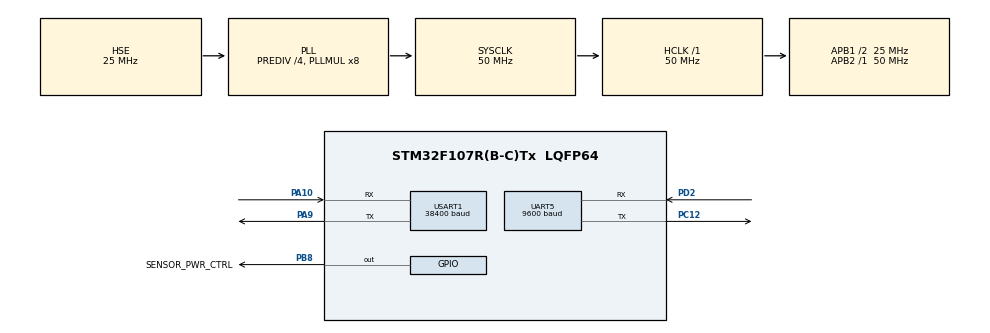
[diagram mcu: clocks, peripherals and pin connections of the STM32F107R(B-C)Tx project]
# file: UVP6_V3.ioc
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FREERTOS.Tasks01=defaultTask,0,512,StartDefaultTask,Default,NULL,Dynamic,NULL,NULL;uart_tx_t,0,512,uart_tx_f,Default,NULL,Dynamic,NULL,NULL
FREERTOS.configTOTAL_HEAP_SIZE=35000
FREERTOS.configUSE_NEWLIB_REENTRANT=0
Mcu.Family=STM32F1
Mcu.Name=STM32F107R(B-C)Tx
Mcu.Package=LQFP64
NVIC.PriorityGroup=NVIC_PRIORITYGROUP_4
NVIC.TIM1_UP_IRQn=true\:0\:0\:false\:false\:true\:false\:false\:true\:true
NVIC.TimeBase=TIM1_UP_IRQn
NVIC.TimeBaseIP=TIM1
NVIC.UART5_IRQn=true\:5\:0\:false\:false\:true\:true\:true\:true\:true
NVIC.USART1_IRQn=true\:5\:0\:false\:false\:true\:true\:true\:true\:true
PA10.Mode=Asynchronous
PA10.Signal=USART1_RX
PA9.Mode=Asynchronous
PA9.Signal=USART1_TX
PB8.GPIO_Label=SENSOR_PWR_CTRL
PB8.Signal=GPIO_Output
PC12.Mode=Asynchronous
PC12.Signal=UART5_TX
PD0-OSC_IN.Mode=HSE-External-Oscillator
PD0-OSC_IN.Signal=RCC_OSC_IN
PD1-OSC_OUT.Mode=HSE-External-Oscillator
PD1-OSC_OUT.Signal=RCC_OSC_OUT
PD2.Mode=Asynchronous
PD2.Signal=UART5_RX
ProjectManager.HeapSize=0x200
ProjectManager.StackSize=0x400
ProjectManager.TargetToolchain=STM32CubeIDE
RCC.AHBFreq_Value=50000000
RCC.APB1CLKDivider=RCC_HCLK_DIV2
RCC.APB1Freq_Value=25000000
RCC.APB1TimFreq_Value=50000000
RCC.APB2Freq_Value=50000000
RCC.APB2TimFreq_Value=50000000
RCC.HCLKFreq_Value=50000000
RCC.HSEDivPLL=RCC_HSE_PREDIV_DIV4
RCC.HSE_VALUE=25000000
RCC.PLLMUL=RCC_PLL_MUL8
RCC.PLLSourceVirtual=RCC_PLLSOURCE_HSE
RCC.SYSCLKFreq_VALUE=50000000
RCC.SYSCLKSource=RCC_SYSCLKSOURCE_PLLCLK
RCC.USBFreq_Value=33333333.333333332
UART5.BaudRate=9600
UART5.VirtualMode=Asynchronous
USART1.BaudRate=38400
USART1.VirtualMode=VM_ASYNC
VP_FREERTOS_VS_CMSIS_V1.Mode=CMSIS_V1
VP_SYS_VS_ND.Mode=No_Debug
VP_SYS_VS_tim1.Mode=TIM1
board=custom

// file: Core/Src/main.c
/* USER CODE BEGIN Header */
/**
  ******************************************************************************
  * @file           : main.c
  * @brief          : Main program body
  ******************************************************************************
  * @attention
  *
  * <h2><center>&copy; Copyright (c) 2021 STMicroelectronics.
  * All rights reserved.</center></h2>
  *
  * This software component is licensed by ST under Ultimate Liberty license
  * SLA0044, the "License"; You may not use this file except in compliance with
  * the License. You may obtain a copy of the License at:
  *                             www.st.com/SLA0044
  *
  ******************************************************************************
  */
/* USER CODE END Header */
#include "main.h"
#include "cmsis_os.h"

/* USER CODE BEGIN Includes */
#include "slocum_g3.h"
#include "UVP6.h"
#include "string.h"
#include "mcu_flash.h"
#include "stdio.h"

/* USER CODE END Includes */

/* USER CODE BEGIN PD */
#define  UVP6_UART               huart1
#define  GLIDER_UART             huart5
//#define  DEBUG

#define  UVP_DEPTH_HL_LEVEL      15.0

#define  BLOC_STARTED                      0
#define  BLOC_FINISHED                     1
/* USER CODE END PD */

UART_HandleTypeDef huart5;
UART_HandleTypeDef huart1;

osThreadId defaultTaskHandle;
osThreadId uart_tx_tHandle;
/* USER CODE BEGIN PV */

uvp6 uvp6_sensor1;
slocum glider1;
mcu_flash data_flash;

uint32_t     dive_counter;
uint32_t     lpm_buffer_num_of_msgs=0;
lpm_data_str lpm_messages_buffer;

float   lpm_bloc_depth_start=0.0;
float   lpm_bloc_depth_size=0.0;

char filename[30];
char file_data[500];

memory_region_pointer ptr1;
memory_region_pointer ptr2;

/* USER CODE END PV */

void SystemClock_Config(void);
static void MX_GPIO_Init(void);
static void MX_UART5_Init(void);
static void MX_USART1_UART_Init(void);
void StartDefaultTask(void const * argument);
void uart_tx_f(void const * argument);

/* USER CODE BEGIN PFP */
void lpm_sum_messages();
void lpm_aggregate_messages();
void lpm_aggregate_and_send();

/* USER CODE END PFP */

int main(void)
{

  /* MCU Configuration--------------------------------------------------------*/

  /* Reset of all peripherals, Initializes the Flash interface and the Systick. */
  HAL_Init();

  /* Configure the system clock */
  SystemClock_Config();

  /* Initialize all configured peripherals */
  MX_GPIO_Init();
  MX_UART5_Init();
  MX_USART1_UART_Init();
  /* USER CODE BEGIN 2 */
  uvp6_init(&uvp6_sensor1);
  HAL_UART_Receive_IT(&UVP6_UART,&(uvp6_sensor1.media_rx_byte),1);

  slocum_init(&glider1);
  HAL_UART_Receive_IT(&GLIDER_UART,&(glider1.media_rx_byte),1);

  //mcu_flash_init(&data_flash,82);

  /* USER CODE END 2 */

  /* Create the thread(s) */
  /* definition and creation of defaultTask */
  osThreadDef(defaultTask, StartDefaultTask, osPriorityNormal, 0, 512);
  defaultTaskHandle = osThreadCreate(osThread(defaultTask), NULL);

  /* definition and creation of uart_tx_t */
  osThreadDef(uart_tx_t, uart_tx_f, osPriorityNormal, 0, 512);
  uart_tx_tHandle = osThreadCreate(osThread(uart_tx_t), NULL);

  /* Start scheduler */
  osKernelStart();

  /* We should never get here as control is now taken by the scheduler */
  /* Infinite loop */
  while (1)
  {

  }
}

void SystemClock_Config(void)
{
  RCC_OscInitTypeDef RCC_OscInitStruct = {0};
  RCC_ClkInitTypeDef RCC_ClkInitStruct = {0};

  /** Initializes the RCC Oscillators according to the specified parameters
  * in the RCC_OscInitTypeDef structure.
  */
  RCC_OscInitStruct.OscillatorType = RCC_OSCILLATORTYPE_HSE;
  RCC_OscInitStruct.HSEState = RCC_HSE_ON;
  RCC_OscInitStruct.HSEPredivValue = RCC_HSE_PREDIV_DIV4;
  RCC_OscInitStruct.HSIState = RCC_HSI_ON;
  RCC_OscInitStruct.Prediv1Source = RCC_PREDIV1_SOURCE_HSE;
  RCC_OscInitStruct.PLL.PLLState = RCC_PLL_ON;
  RCC_OscInitStruct.PLL.PLLSource = RCC_PLLSOURCE_HSE;
  RCC_OscInitStruct.PLL.PLLMUL = RCC_PLL_MUL8;
  RCC_OscInitStruct.PLL2.PLL2State = RCC_PLL_NONE;
  if (HAL_RCC_OscConfig(&RCC_OscInitStruct) != HAL_OK)
  {
    Error_Handler();
  }

  /** Initializes the CPU, AHB and APB buses clocks
  */
  RCC_ClkInitStruct.ClockType = RCC_CLOCKTYPE_HCLK|RCC_CLOCKTYPE_SYSCLK
                              |RCC_CLOCKTYPE_PCLK1|RCC_CLOCKTYPE_PCLK2;
  RCC_ClkInitStruct.SYSCLKSource = RCC_SYSCLKSOURCE_PLLCLK;
  RCC_ClkInitStruct.AHBCLKDivider = RCC_SYSCLK_DIV1;
  RCC_ClkInitStruct.APB1CLKDivider = RCC_HCLK_DIV2;
  RCC_ClkInitStruct.APB2CLKDivider = RCC_HCLK_DIV1;

  if (HAL_RCC_ClockConfig(&RCC_ClkInitStruct, FLASH_LATENCY_2) != HAL_OK)
  {
    Error_Handler();
  }

  /** Configure the Systick interrupt time
  */
  __HAL_RCC_PLLI2S_ENABLE();
}

static void MX_UART5_Init(void)
{

  huart5.Instance = UART5;
  huart5.Init.BaudRate = 9600;
  huart5.Init.WordLength = UART_WORDLENGTH_8B;
  huart5.Init.StopBits = UART_STOPBITS_1;
  huart5.Init.Parity = UART_PARITY_NONE;
  huart5.Init.Mode = UART_MODE_TX_RX;
  huart5.Init.HwFlowCtl = UART_HWCONTROL_NONE;
  huart5.Init.OverSampling = UART_OVERSAMPLING_16;
  if (HAL_UART_Init(&huart5) != HAL_OK)
  {
    Error_Handler();
  }

}

static void MX_USART1_UART_Init(void)
{

  huart1.Instance = USART1;
  huart1.Init.BaudRate = 38400;
  huart1.Init.WordLength = UART_WORDLENGTH_8B;
  huart1.Init.StopBits = UART_STOPBITS_1;
  huart1.Init.Parity = UART_PARITY_NONE;
  huart1.Init.Mode = UART_MODE_TX_RX;
  huart1.Init.HwFlowCtl = UART_HWCONTROL_NONE;
  huart1.Init.OverSampling = UART_OVERSAMPLING_16;
  if (HAL_UART_Init(&huart1) != HAL_OK)
  {
    Error_Handler();
  }

}

static void MX_GPIO_Init(void)
{
  GPIO_InitTypeDef GPIO_InitStruct = {0};

  /* GPIO Ports Clock Enable */
  __HAL_RCC_GPIOD_CLK_ENABLE();
  __HAL_RCC_GPIOA_CLK_ENABLE();
  __HAL_RCC_GPIOC_CLK_ENABLE();
  __HAL_RCC_GPIOB_CLK_ENABLE();

  /*Configure GPIO pin Output Level */
  HAL_GPIO_WritePin(SENSOR_PWR_CTRL_GPIO_Port, SENSOR_PWR_CTRL_Pin, GPIO_PIN_RESET);

  /*Configure GPIO pin : SENSOR_PWR_CTRL_Pin */
  GPIO_InitStruct.Pin = SENSOR_PWR_CTRL_Pin;
  GPIO_InitStruct.Mode = GPIO_MODE_OUTPUT_PP;
  GPIO_InitStruct.Pull = GPIO_NOPULL;
  GPIO_InitStruct.Speed = GPIO_SPEED_FREQ_LOW;
  HAL_GPIO_Init(SENSOR_PWR_CTRL_GPIO_Port, &GPIO_InitStruct);

}

/* USER CODE BEGIN 4 */
uint8_t tmp1;
uint8_t tmp2;

void HAL_UART_RxCpltCallback(UART_HandleTypeDef *huart)
{
 if(huart==&UVP6_UART)
 {   //send new received byte to uvp6 object
	 uvp6_media_process_byte(&uvp6_sensor1,uvp6_sensor1.media_rx_byte);
	 HAL_UART_Receive_IT(&UVP6_UART,&(uvp6_sensor1.media_rx_byte),1);
 }
 else if(huart==&GLIDER_UART)
 {
	 slocum_media_process_byte(&glider1,glider1.media_rx_byte);
	 HAL_UART_Receive_IT(&GLIDER_UART,&(glider1.media_rx_byte),1);
 }
}

void HAL_UART_TxCpltCallback(UART_HandleTypeDef *huart)
{

 if(huart==&UVP6_UART)
 {
	 if(uvp6_media_get_byte(&uvp6_sensor1,&tmp2)==UVP6_F_OK)
	 {
	    HAL_UART_Transmit_IT(&UVP6_UART,&tmp2,1);
	 }
 }
 else if(huart==&GLIDER_UART)
 {
	 if(slocum_media_get_byte(&glider1,&tmp1)==SLOCUM_F_OK)
	 {
	    HAL_UART_Transmit_IT(&GLIDER_UART,&tmp1,1);
	 }
 }
}

void lpm_sum_messages()
{
  lpm_messages_buffer.temperature+=uvp6_sensor1.lpm_data.temperature;
  lpm_messages_buffer.pressure+=uvp6_sensor1.lpm_data.pressure;
  lpm_messages_buffer.number_of_images+=uvp6_sensor1.lpm_data.number_of_images;
  for(int y=0;y<UVP6_NUM_OF_CATEGORIES;y++){
	lpm_messages_buffer.data[y]+=uvp6_sensor1.lpm_data.data[y];
	lpm_messages_buffer.grey_levels[y]+=(uvp6_sensor1.lpm_data.grey_levels[y]*uvp6_sensor1.lpm_data.data[y]);
  }
}

void lpm_aggregate_messages()
{
   lpm_messages_buffer.temperature=lpm_messages_buffer.temperature/(float)(lpm_buffer_num_of_msgs);
   lpm_messages_buffer.pressure=lpm_messages_buffer.pressure/(float)(lpm_buffer_num_of_msgs);
   for(int y=0;y<UVP6_NUM_OF_CATEGORIES;y++){
	   if(lpm_messages_buffer.data[y]>0){
		   lpm_messages_buffer.grey_levels[y]=(lpm_messages_buffer.grey_levels[y]/lpm_messages_buffer.data[y]);
	   }
   }
   lpm_buffer_num_of_msgs=0;
}

void lpm_aggregate_and_send()
{
  	lpm_aggregate_messages();
	sprintf(file_data,"LPM_DATA,%f,%s,%s,%u,%f,%u,%u,%u,%u,%u,%u,%u,%u,%u,%u,%u,%u,%u,%u,%u,%u,%u,%u,%u,%u,%u,%u,%u,%u,%u,%u,%u,%u,%u,%u,%u,%u,%u,%u,%u,%u;\r\n",
						  lpm_messages_buffer.pressure,
						  lpm_messages_buffer.date,
						  lpm_messages_buffer.time,
						  lpm_messages_buffer.number_of_images,
						  lpm_messages_buffer.temperature,
						  lpm_messages_buffer.data[0],
						  lpm_messages_buffer.data[1],
						  lpm_messages_buffer.data[2],
						  lpm_messages_buffer.data[3],
						  lpm_messages_buffer.data[4],
						  lpm_messages_buffer.data[5],
						  lpm_messages_buffer.data[6],
						  lpm_messages_buffer.data[7],
						  lpm_messages_buffer.data[8],
						  lpm_messages_buffer.data[9],
						  lpm_messages_buffer.data[10],
						  lpm_messages_buffer.data[11],
						  lpm_messages_buffer.data[12],
						  lpm_messages_buffer.data[13],
						  lpm_messages_buffer.data[14],
						  lpm_messages_buffer.data[15],
						  lpm_messages_buffer.data[16],
						  lpm_messages_buffer.data[17],
						  lpm_messages_buffer.grey_levels[0],
						  lpm_messages_buffer.grey_levels[1],
						  lpm_messages_buffer.grey_levels[2],
						  lpm_messages_buffer.grey_levels[3],
						  lpm_messages_buffer.grey_levels[4],
						  lpm_messages_buffer.grey_levels[5],
						  lpm_messages_buffer.grey_levels[6],
						  lpm_messages_buffer.grey_levels[7],
						  lpm_messages_buffer.grey_levels[8],
						  lpm_messages_buffer.grey_levels[9],
						  lpm_messages_buffer.grey_levels[10],
						  lpm_messages_buffer.grey_levels[11],
						  lpm_messages_buffer.grey_levels[12],
						  lpm_messages_buffer.grey_levels[13],
						  lpm_messages_buffer.grey_levels[14],
						  lpm_messages_buffer.grey_levels[15],
						  lpm_messages_buffer.grey_levels[16],
						  lpm_messages_buffer.grey_levels[17]
    );
	ptr2.start_addr=file_data;
	ptr2.size=strlen(file_data);
	osDelay(500);
	slocum_send_cmd(&glider1,SLOCUM_CMD_WRITE_FILE_DATA,&ptr2);

	if(lpm_bloc_depth_start>1000.0) lpm_bloc_depth_size=20.0;
	else if(lpm_bloc_depth_start>500.0) lpm_bloc_depth_size=20.0;
	else if(lpm_bloc_depth_start>100.0) lpm_bloc_depth_size=10.0;
	else if(lpm_bloc_depth_start>2.0) lpm_bloc_depth_size=5.0;
	else lpm_bloc_depth_size=0.0;

	lpm_bloc_depth_start=glider1.last_depth;
}

/* USER CODE END 4 */

void StartDefaultTask(void const * argument)
{
  /* USER CODE BEGIN 5 */
  /* Infinite loop */
  //mcu_flash_open(&data_flash);

  uint8_t event_id;

  dive_counter=0;
  uvp6_sensor1.profile=UVP_PROFILE_L;

  glider1.fsm_status=GLIDER_FSM_CLK_UNSYNCED;
  uvp6_sensor1.status=UVP6_IDLE;

  uvp6_power_off();
  osDelay(200);
  uvp6_power_on();

  uvp6_send_cmd(&uvp6_sensor1,UVP6_CMD_STOP_ACQ,NULL);

  uint8_t bloc_status=BLOC_STARTED;

  for(;;)
  {
	 //glider task
	 if(slocum_get_event(&glider1,&event_id)==SLOCUM_F_OK)
	 {
		switch(event_id)
		{
		 case SLOCUM_EVNT_DEPTH_RCVD:
			 if(glider1.fsm_status==GLIDER_FSM_ACTIVE){
				 switch(uvp6_sensor1.status){
				  case UVP6_ACQ_L_STARTED:
					  if(glider1.last_depth>UVP_DEPTH_HL_LEVEL&&glider1.prev_depth>UVP_DEPTH_HL_LEVEL){
						uvp6_sensor1.profile=UVP_PROFILE_H;
						uvp6_send_cmd(&uvp6_sensor1,UVP6_CMD_STOP_ACQ,NULL);
						osDelay(1000);
						uvp6_send_cmd(&uvp6_sensor1,UVP6_CMD_START_H_ACQ,NULL);
						uvp6_sensor1.status=UVP6_ACQ_H_STARTED;
					  }
				  break;
				  case UVP6_ACQ_H_STARTED:
					  if(glider1.last_depth<UVP_DEPTH_HL_LEVEL&&glider1.prev_depth<UVP_DEPTH_HL_LEVEL){
						uvp6_sensor1.profile=UVP_PROFILE_L;
						uvp6_send_cmd(&uvp6_sensor1,UVP6_CMD_STOP_ACQ,NULL);
					    osDelay(1000);
						uvp6_send_cmd(&uvp6_sensor1,UVP6_CMD_START_L_ACQ,NULL);
						uvp6_sensor1.status=UVP6_ACQ_L_STARTED;
					  }
				  break;
				 };
			 }
			 else if(glider1.fsm_status==GLIDER_FSM_START_PROFILE){
				 if(glider1.last_depth>UVP_DEPTH_HL_LEVEL){
				   uvp6_send_cmd(&uvp6_sensor1,UVP6_CMD_STOP_ACQ,NULL);
				   osDelay(1000);
				   uvp6_send_cmd(&uvp6_sensor1,UVP6_CMD_START_H_ACQ,NULL);
				   uvp6_sensor1.status=UVP6_ACQ_H_STARTED;
				   glider1.fsm_status=GLIDER_FSM_ACTIVE;
				 }
				 else if(glider1.last_depth<=UVP_DEPTH_HL_LEVEL){
				   uvp6_send_cmd(&uvp6_sensor1,UVP6_CMD_STOP_ACQ,NULL);
				   osDelay(1000);
				   uvp6_send_cmd(&uvp6_sensor1,UVP6_CMD_START_L_ACQ,NULL);
				   uvp6_sensor1.status=UVP6_ACQ_L_STARTED;
				   glider1.fsm_status=GLIDER_FSM_ACTIVE;
				 }
			 }
			 //slocum_send_cmd(&glider1,SLOCUM_CMD_PROMPT,NULL);
         break;
		 case SLOCUM_EVNT_STATUS_RCVD:
			 if(glider1.behavior_state==GLIDER_BEHAVIOR_DV
					 ||glider1.behavior_state==GLIDER_BEHAVIOR_SAC
					 ||glider1.behavior_state==GLIDER_BEHAVIOR_NONE){
			   if(glider1.fsm_status==GLIDER_FSM_ACTIVE) {
				   uvp6_send_cmd(&uvp6_sensor1,UVP6_CMD_STOP_ACQ,NULL);
				   sprintf(filename,"ef.tmp");
				   ptr1.start_addr=filename;
				   ptr1.size=strlen(filename);
				   slocum_send_cmd(&glider1,SLOCUM_CMD_OPEN_FILE_W,&ptr1);
				   bloc_status=BLOC_FINISHED;
				   lpm_aggregate_and_send();
			   }
			   glider1.fsm_status=GLIDER_FSM_WAIT_DIVE;
			 }
			 else if(glider1.behavior_state==GLIDER_BEHAVIOR_CL){
			   if(glider1.fsm_status==GLIDER_FSM_ACTIVE) {
				   uvp6_send_cmd(&uvp6_sensor1,UVP6_CMD_STOP_ACQ,NULL);
				   sprintf(filename,"ef.tmp");
				   ptr1.start_addr=filename;
				   ptr1.size=strlen(filename);
				   slocum_send_cmd(&glider1,SLOCUM_CMD_OPEN_FILE_W,&ptr1);
				   bloc_status=BLOC_FINISHED;
				   lpm_aggregate_and_send();
			   }
			   glider1.fsm_status=GLIDER_FSM_WAIT_CLIMB;
			 }
			 else if(glider1.behavior_state==GLIDER_BEHAVIOR_NTR){
			   if(glider1.fsm_status==GLIDER_FSM_WAIT_DIVE){
				   glider1.fsm_status=GLIDER_FSM_START_DIVE;
			   }
			   else if(glider1.fsm_status==GLIDER_FSM_WAIT_CLIMB){
				   glider1.fsm_status=GLIDER_FSM_START_CLIMB;
			   }
			 }
	     break;
		 case SLOCUM_EVNT_CLK_RCVD:

			   if(glider1.fsm_status==GLIDER_FSM_START_DIVE){
				   dive_counter++;
				   dive_counter%=999;
				   if(uvp6_sensor1.profile==UVP_PROFILE_H) sprintf(filename,"%s%u.uv6",glider1.mission_id+2,dive_counter);
				   else if(uvp6_sensor1.profile==UVP_PROFILE_L) sprintf(filename,"%s%u.uv6",glider1.mission_id+2,dive_counter);
				   ptr1.start_addr=filename;
				   ptr1.size=strlen(filename);
				   osDelay(500);
				   slocum_send_cmd(&glider1,SLOCUM_CMD_OPEN_FILE_W,&ptr1);
				   glider1.fsm_status=GLIDER_FSM_START_PROFILE;
				   glider1.dicl_status=GLIDER_DICL_DIVE;
				   lpm_bloc_depth_start=glider1.last_depth;
			   }
			   else if(glider1.fsm_status==GLIDER_FSM_START_CLIMB){
				   dive_counter++;
				   dive_counter%=999;
				   if(uvp6_sensor1.profile==UVP_PROFILE_H) sprintf(filename,"%s%u.uv6",glider1.mission_id+2,dive_counter);
				   else if(uvp6_sensor1.profile==UVP_PROFILE_L) sprintf(filename,"%s%u.uv6",glider1.mission_id+2,dive_counter);
				   ptr1.start_addr=filename;
				   ptr1.size=strlen(filename);
				   osDelay(500);
				   slocum_send_cmd(&glider1,SLOCUM_CMD_OPEN_FILE_W,&ptr1);
				   glider1.fsm_status=GLIDER_FSM_START_PROFILE;
				   glider1.dicl_status=GLIDER_DICL_CLIMB;
				   lpm_bloc_depth_start=glider1.last_depth;
			   }
	     break;
		}
	 }

	 //UVP6 tasks

	 if(uvp6_get_event(&uvp6_sensor1,&event_id)==UVP6_F_OK)
	 {
        switch(event_id)
        {
         case UVP6_EVNT_BOOTED:
        	if(uvp6_sensor1.status==UVP6_IDLE){
        		uvp6_send_cmd(&uvp6_sensor1,UVP6_CMD_STOP_ACQ,NULL);
        		uvp6_sensor1.status=UVP6_STARTED;
        	}
         break;
         case UVP6_EVNT_LPM_DATA_RCVD:
          if(glider1.fsm_status==GLIDER_FSM_ACTIVE){
        	lpm_buffer_num_of_msgs++;
        	if(lpm_buffer_num_of_msgs==1){
               memcpy(&lpm_messages_buffer,&uvp6_sensor1.lpm_data,sizeof(uvp6_sensor1.lpm_data));
               for(int y=0;y<UVP6_NUM_OF_CATEGORIES;y++){
             	lpm_messages_buffer.grey_levels[y]=(lpm_messages_buffer.grey_levels[y]*lpm_messages_buffer.data[y]);
               }
        	}
        	else lpm_sum_messages();

            switch(glider1.dicl_status){
              case GLIDER_DICL_CLIMB:
            	  if(glider1.last_depth<(lpm_bloc_depth_start-lpm_bloc_depth_size)) bloc_status=BLOC_FINISHED;
              break;
              case GLIDER_DICL_DIVE:
            	  if(glider1.last_depth>(lpm_bloc_depth_start+lpm_bloc_depth_size)) bloc_status=BLOC_FINISHED;
              break;
            };

            if(bloc_status==BLOC_FINISHED){
                lpm_aggregate_and_send();
            	bloc_status=BLOC_STARTED;
            }
          }
		 break;
        }
	 }
	 osDelay(1);
  }
  /* USER CODE END 5 */
}

void uart_tx_f(void const * argument)
{
  /* USER CODE BEGIN uart_tx_f */
  /* Infinite loop */
  uint8_t tmp1;
  uint8_t tmp2;
  uvp6_sensor1.media_status=UVP6_MEDIA_READY;
  glider1.media_status=SLOCUM_MEDIA_READY;
#ifdef DEBUG
  HAL_UART_Transmit(&UVP6_UART,"U",1,100);
  HAL_UART_Transmit(&GLIDER_UART,"G",1,100);
#endif

  for(;;)
  {
       if(GLIDER_UART.gState!=HAL_UART_STATE_BUSY_TX)
       {
		if(slocum_media_get_byte(&glider1,&tmp1)==SLOCUM_F_OK)
		{
		   HAL_UART_Transmit_IT(&GLIDER_UART,&tmp1,1);
		}
       }
       if(UVP6_UART.gState!=HAL_UART_STATE_BUSY_TX)
       {
		if(uvp6_media_get_byte(&uvp6_sensor1,&tmp2)==UVP6_F_OK)
		{
		   HAL_UART_Transmit_IT(&UVP6_UART,&tmp2,1);
		}
       }
    osDelay(1);
  }
  /* USER CODE END uart_tx_f */
}

void HAL_TIM_PeriodElapsedCallback(TIM_HandleTypeDef *htim)
{
  if (htim->Instance == TIM1) {
    HAL_IncTick();
  }
}

void Error_Handler(void)
{
  __disable_irq();
  while (1)
  {
  }
}
